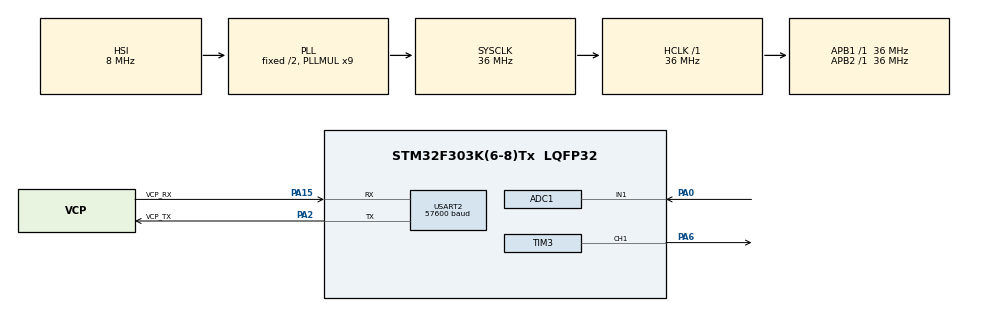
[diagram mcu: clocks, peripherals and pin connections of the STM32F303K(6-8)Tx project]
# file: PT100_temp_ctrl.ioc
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ADC1.Channel-1\#ChannelRegularConversion=ADC_CHANNEL_1
ADC1.NbrOfConversionFlag=1
ADC1.Offset-1\#ChannelRegularConversion=0
ADC1.OffsetNumber-1\#ChannelRegularConversion=ADC_OFFSET_NONE
ADC1.Rank-1\#ChannelRegularConversion=1
ADC1.SamplingTime-1\#ChannelRegularConversion=ADC_SAMPLETIME_1CYCLE_5
ADC1.SamplingTimeOPAMP-1\#ChannelRegularConversion=ADC_SAMPLETIME_7CYCLES_5
ADC1.ScanConvMode-ADC_Settings=ADC_SCAN_ENABLE
ADC1.SubFamily=STM32F303x8
ADC1.master=1
Mcu.Family=STM32F3
Mcu.Name=STM32F303K(6-8)Tx
Mcu.Package=LQFP32
NVIC.PriorityGroup=NVIC_PRIORITYGROUP_4
PA0.Mode=IN1-Single-Ended
PA0.Signal=ADC1_IN1
PA13.GPIO_Label=SWDIO
PA13.Mode=Serial_Wire
PA13.Signal=SYS_JTMS-SWDIO
PA14.GPIO_Label=SWCLK
PA14.Mode=Serial_Wire
PA14.Signal=SYS_JTCK-SWCLK
PA15.GPIO_Label=VCP_RX
PA15.Mode=Asynchronous
PA15.Signal=USART2_RX
PA2.GPIO_Label=VCP_TX
PA2.Mode=Asynchronous
PA2.Signal=USART2_TX
PA6.Signal=S_TIM3_CH1
PF0\ /\ OSC_IN.GPIO_Label=MCO
PF0\ /\ OSC_IN.Signal=RCC_OSC_IN
ProjectManager.HeapSize=0x200
ProjectManager.StackSize=0x400
ProjectManager.TargetToolchain=STM32CubeIDE
RCC.ADC12PRES=RCC_ADC12PLLCLK_DIV8
RCC.AHBFreq_Value=36000000
RCC.APB1Freq_Value=36000000
RCC.APB1TimFreq_Value=36000000
RCC.APB2Freq_Value=36000000
RCC.APB2TimFreq_Value=36000000
RCC.CortexFreq_Value=36000000
RCC.HCLKFreq_Value=36000000
RCC.HSE_VALUE=8000000
RCC.HSI_VALUE=8000000
RCC.PLLMUL=RCC_PLL_MUL9
RCC.SYSCLKFreq_VALUE=36000000
RCC.SYSCLKSourceVirtual=RCC_SYSCLKSOURCE_PLLCLK
SH.S_TIM3_CH1.0=TIM3_CH1,PWM Generation1 CH1
TIM3.Channel-PWM\ Generation1\ CH1=TIM_CHANNEL_1
USART2.BaudRate=57600
USART2.VirtualMode-Asynchronous=VM_ASYNC
VP_TIM3_VS_ClockSourceINT.Mode=Internal
board=NUCLEO-F303K8

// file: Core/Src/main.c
/* USER CODE BEGIN Header */
/**
  ******************************************************************************
  * @file           : main.c
  * @brief          : Main program body
  ******************************************************************************
  * @attention
  *
  * <h2><center>&copy; Copyright (c) 2021 STMicroelectronics.
  * All rights reserved.</center></h2>
  *
  * This software component is licensed by ST under BSD 3-Clause license,
  * the "License"; You may not use this file except in compliance with the
  * License. You may obtain a copy of the License at:
  *                        opensource.org/licenses/BSD-3-Clause
  *
  ******************************************************************************
  */
/* USER CODE END Header */
#include "main.h"

/* USER CODE BEGIN Includes */
#include "adc_settings.h"

/* USER CODE END Includes */

ADC_HandleTypeDef hadc1;

TIM_HandleTypeDef htim3;

UART_HandleTypeDef huart2;

void SystemClock_Config(void);
static void MX_GPIO_Init(void);
static void MX_USART2_UART_Init(void);
static void MX_ADC1_Init(void);
static void MX_TIM3_Init(void);

/* USER CODE BEGIN 0 */
float pt100_meas = 0.f; // Pin_A4
float pt100_mvolt = 0.f;
uint16_t CNT_debugger = 0;
uint8_t BUFFER_TX_debug [200];
uint16_t LEN_buffer = 0;

/* USER CODE END 0 */

int main(void)
{

  /* MCU Configuration--------------------------------------------------------*/

  /* Reset of all peripherals, Initializes the Flash interface and the Systick. */
  HAL_Init();

  /* Configure the system clock */
  SystemClock_Config();

  /* Initialize all configured peripherals */
  MX_GPIO_Init();
  MX_USART2_UART_Init();
  MX_ADC1_Init();
  MX_TIM3_Init();
  /* USER CODE BEGIN 2 */

  ADC_Setup();
  TIM2_settings();

  /* USER CODE END 2 */

  /* Infinite loop */
  /* USER CODE BEGIN WHILE */
  while (1)
  {

	  if (CNT_debugger > 10) {

		  CNT_debugger = 0;
		  //sprintf (BUFFER_TX_debug, "ADC READ : %d", pt100_meas);
		  LEN_buffer = sprintf (BUFFER_TX_debug, "ADC READ : %d\n", pt100_meas);

		  HAL_UART_Transmit(&huart2, BUFFER_TX_debug, LEN_buffer, 100);

	  }
	  }
    /* USER CODE END WHILE */

	if (70 < pt100_meas < 80) {
	  HAL_GPIO_WritePin(GPIOC, GPIO_PIN_8, GPIO_PIN_SET);  // GPIO_8_C -> pin da mandare al relè
	}                                                      // da dimensionare sopra i 40A (max Current)
	else {
	  HAL_GPIO_WritePin(GPIOC, GPIO_PIN_8, GPIO_PIN_RESET);
	}

  }

void SystemClock_Config(void)
{
  RCC_OscInitTypeDef RCC_OscInitStruct = {0};
  RCC_ClkInitTypeDef RCC_ClkInitStruct = {0};
  RCC_PeriphCLKInitTypeDef PeriphClkInit = {0};

  /** Initializes the RCC Oscillators according to the specified parameters
  * in the RCC_OscInitTypeDef structure.
  */
  RCC_OscInitStruct.OscillatorType = RCC_OSCILLATORTYPE_HSI;
  RCC_OscInitStruct.HSIState = RCC_HSI_ON;
  RCC_OscInitStruct.HSICalibrationValue = RCC_HSICALIBRATION_DEFAULT;
  RCC_OscInitStruct.PLL.PLLState = RCC_PLL_ON;
  RCC_OscInitStruct.PLL.PLLSource = RCC_PLLSOURCE_HSI;
  RCC_OscInitStruct.PLL.PLLMUL = RCC_PLL_MUL9;
  if (HAL_RCC_OscConfig(&RCC_OscInitStruct) != HAL_OK)
  {
    Error_Handler();
  }
  /** Initializes the CPU, AHB and APB buses clocks
  */
  RCC_ClkInitStruct.ClockType = RCC_CLOCKTYPE_HCLK|RCC_CLOCKTYPE_SYSCLK
                              |RCC_CLOCKTYPE_PCLK1|RCC_CLOCKTYPE_PCLK2;
  RCC_ClkInitStruct.SYSCLKSource = RCC_SYSCLKSOURCE_PLLCLK;
  RCC_ClkInitStruct.AHBCLKDivider = RCC_SYSCLK_DIV1;
  RCC_ClkInitStruct.APB1CLKDivider = RCC_HCLK_DIV1;
  RCC_ClkInitStruct.APB2CLKDivider = RCC_HCLK_DIV1;

  if (HAL_RCC_ClockConfig(&RCC_ClkInitStruct, FLASH_LATENCY_1) != HAL_OK)
  {
    Error_Handler();
  }
  PeriphClkInit.PeriphClockSelection = RCC_PERIPHCLK_ADC12;
  PeriphClkInit.Adc12ClockSelection = RCC_ADC12PLLCLK_DIV8;
  if (HAL_RCCEx_PeriphCLKConfig(&PeriphClkInit) != HAL_OK)
  {
    Error_Handler();
  }
}

static void MX_ADC1_Init(void)
{

  ADC_MultiModeTypeDef multimode = {0};
  ADC_ChannelConfTypeDef sConfig = {0};

  /** Common config
  */
  hadc1.Instance = ADC1;
  hadc1.Init.ClockPrescaler = ADC_CLOCK_ASYNC_DIV1;
  hadc1.Init.Resolution = ADC_RESOLUTION_12B;
  hadc1.Init.ScanConvMode = ADC_SCAN_DISABLE;
  hadc1.Init.ContinuousConvMode = DISABLE;
  hadc1.Init.DiscontinuousConvMode = DISABLE;
  hadc1.Init.ExternalTrigConvEdge = ADC_EXTERNALTRIGCONVEDGE_NONE;
  hadc1.Init.ExternalTrigConv = ADC_SOFTWARE_START;
  hadc1.Init.DataAlign = ADC_DATAALIGN_RIGHT;
  hadc1.Init.NbrOfConversion = 1;
  hadc1.Init.DMAContinuousRequests = DISABLE;
  hadc1.Init.EOCSelection = ADC_EOC_SINGLE_CONV;
  hadc1.Init.LowPowerAutoWait = DISABLE;
  hadc1.Init.Overrun = ADC_OVR_DATA_OVERWRITTEN;
  if (HAL_ADC_Init(&hadc1) != HAL_OK)
  {
    Error_Handler();
  }
  /** Configure the ADC multi-mode
  */
  multimode.Mode = ADC_MODE_INDEPENDENT;
  if (HAL_ADCEx_MultiModeConfigChannel(&hadc1, &multimode) != HAL_OK)
  {
    Error_Handler();
  }
  /** Configure Regular Channel
  */
  sConfig.Channel = ADC_CHANNEL_1;
  sConfig.Rank = ADC_REGULAR_RANK_1;
  sConfig.SingleDiff = ADC_SINGLE_ENDED;
  sConfig.SamplingTime = ADC_SAMPLETIME_1CYCLE_5;
  sConfig.OffsetNumber = ADC_OFFSET_NONE;
  sConfig.Offset = 0;
  if (HAL_ADC_ConfigChannel(&hadc1, &sConfig) != HAL_OK)
  {
    Error_Handler();
  }

}

static void MX_TIM3_Init(void)
{

  TIM_ClockConfigTypeDef sClockSourceConfig = {0};
  TIM_MasterConfigTypeDef sMasterConfig = {0};
  TIM_OC_InitTypeDef sConfigOC = {0};

  htim3.Instance = TIM3;
  htim3.Init.Prescaler = 0;
  htim3.Init.CounterMode = TIM_COUNTERMODE_UP;
  htim3.Init.Period = 65535;
  htim3.Init.ClockDivision = TIM_CLOCKDIVISION_DIV1;
  htim3.Init.AutoReloadPreload = TIM_AUTORELOAD_PRELOAD_DISABLE;
  if (HAL_TIM_Base_Init(&htim3) != HAL_OK)
  {
    Error_Handler();
  }
  sClockSourceConfig.ClockSource = TIM_CLOCKSOURCE_INTERNAL;
  if (HAL_TIM_ConfigClockSource(&htim3, &sClockSourceConfig) != HAL_OK)
  {
    Error_Handler();
  }
  if (HAL_TIM_PWM_Init(&htim3) != HAL_OK)
  {
    Error_Handler();
  }
  sMasterConfig.MasterOutputTrigger = TIM_TRGO_RESET;
  sMasterConfig.MasterSlaveMode = TIM_MASTERSLAVEMODE_DISABLE;
  if (HAL_TIMEx_MasterConfigSynchronization(&htim3, &sMasterConfig) != HAL_OK)
  {
    Error_Handler();
  }
  sConfigOC.OCMode = TIM_OCMODE_PWM1;
  sConfigOC.Pulse = 0;
  sConfigOC.OCPolarity = TIM_OCPOLARITY_HIGH;
  sConfigOC.OCFastMode = TIM_OCFAST_DISABLE;
  if (HAL_TIM_PWM_ConfigChannel(&htim3, &sConfigOC, TIM_CHANNEL_1) != HAL_OK)
  {
    Error_Handler();
  }
  HAL_TIM_MspPostInit(&htim3);

}

static void MX_USART2_UART_Init(void)
{

  huart2.Instance = USART2;
  huart2.Init.BaudRate = 57600;
  huart2.Init.WordLength = UART_WORDLENGTH_8B;
  huart2.Init.StopBits = UART_STOPBITS_1;
  huart2.Init.Parity = UART_PARITY_NONE;
  huart2.Init.Mode = UART_MODE_TX_RX;
  huart2.Init.HwFlowCtl = UART_HWCONTROL_NONE;
  huart2.Init.OverSampling = UART_OVERSAMPLING_16;
  huart2.Init.OneBitSampling = UART_ONE_BIT_SAMPLE_DISABLE;
  huart2.AdvancedInit.AdvFeatureInit = UART_ADVFEATURE_NO_INIT;
  if (HAL_UART_Init(&huart2) != HAL_OK)
  {
    Error_Handler();
  }

}

static void MX_GPIO_Init(void)
{

  /* GPIO Ports Clock Enable */
  __HAL_RCC_GPIOF_CLK_ENABLE();
  __HAL_RCC_GPIOA_CLK_ENABLE();

}

/* USER CODE BEGIN 4 */

void ADC1_2_IRQHandler(void){

	// Clear interrupt flag
	ADC2 -> ISR |= ADC_ISR_EOS;

	pt100_mvolt = ADC_BUFFER[0]*(3300.f)/(4095.f);	// [mV]
	pt100_meas = (pt100_mvolt -2320.0f)*100.0f /(3060.0f-2320.0f); // °C

	if (pt100_mvolt<2300.f){
		pt100_meas = 0.f;
	}
//	if (pt100_mvolt>3060.f){
//		pt100_meas = 100.f;
//	}

	CNT_debugger++;

}

/* USER CODE END 4 */

void Error_Handler(void)
{
  __disable_irq();
  while (1)
  {
  }
}

/************************ (C) COPYRIGHT STMicroelectronics *****END OF FILE****/
